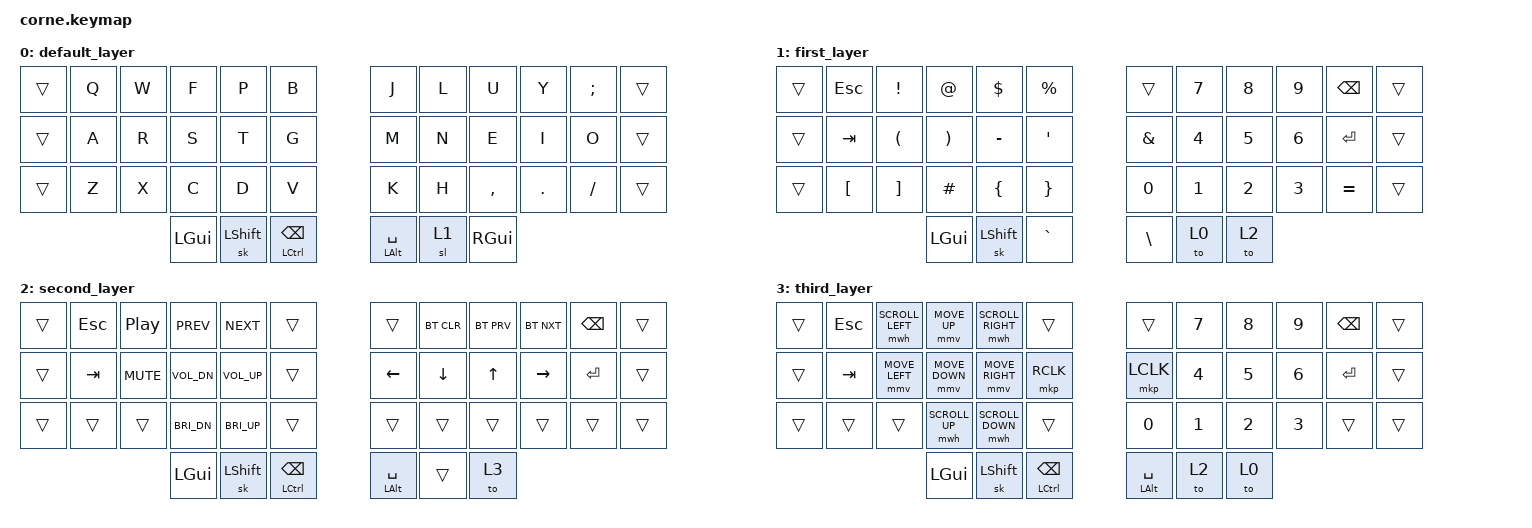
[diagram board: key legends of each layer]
/*
 * Copyright (c) 2020 The ZMK Contributors
 *
 * SPDX-License-Identifier: MIT
 */

#include <behaviors.dtsi>
#include <dt-bindings/zmk/keys.h>
#include <dt-bindings/zmk/bt.h>
#include <dt-bindings/zmk/mouse.h>

#define DEFAULT 0
#define FIRST   1
#define SECOND  2
#define THIRD   3

&mt {
    flavor = "tap-preferred";
    tapping_term_ms = <200>;
};

&mmv {
   time-to-max-speed-ms = <500>;
   acceleration-exponent=<2>;
};

/ {
        keymap {
                compatible = "zmk,keymap";

                default_layer {
                        bindings = <
   &trans &kp Q &kp W &kp F &kp P &kp B        &kp J &kp L  &kp U     &kp Y   &kp SEMI &trans
   &trans &kp A &kp R &kp S &kp T &kp G        &kp M &kp N  &kp E     &kp I   &kp O    &trans
   &trans &kp Z &kp X &kp C &kp D &kp V        &kp K &kp H  &kp COMMA &kp DOT &kp FSLH &trans
   &kp LGUI &sk LSHIFT &mt LCTRL BSPC   &mt LALT SPACE &sl 1 &kp RGUI
                        >;
                };

                first_layer {
                        bindings = <
   &trans &kp ESC  &kp EXCL &kp AT &kp DLLR &kp PRCNT    &trans &kp N7 &kp N8 &kp N9 &kp BSPC &trans
   &trans &kp TAB  &kp LPAR &kp RPAR &kp MINUS &kp SQT   &kp AMPS &kp N4 &kp N5 &kp N6 &kp RET &trans
   &trans &kp LBKT &kp RBKT &kp HASH &kp LBRC &kp RBRC   &kp N0 &kp N1 &kp N2 &kp N3 &kp EQUAL &trans
   &kp LGUI &sk LSHIFT &kp GRAVE                  &kp BSLH &to 0 &to 2
                        >;
                };

                second_layer {
                        bindings = <
   &trans &kp ESC &kp C_PP &kp C_PREV &kp C_NEXT &trans          &trans &bt BT_CLR &bt BT_PRV &bt BT_NXT &kp BSPC &trans
   &trans &kp TAB &kp K_MUTE &kp C_VOL_DN &kp C_VOL_UP &trans    &kp LEFT &kp DOWN &kp UP &kp RIGHT &kp RET &trans
   &trans &trans &trans &kp C_BRI_DN &kp C_BRI_UP &trans         &trans &trans &trans &trans &trans &trans
   &kp LGUI &sk LSHIFT &mt LCTRL BSPC                     &mt LALT SPACE &trans &to 3
                        >;
                };

                third_layer {
                        bindings = <
   &trans &kp ESC &mwh SCROLL_LEFT &mmv MOVE_UP &mwh SCROLL_RIGHT &trans      &trans &kp N7 &kp N8 &kp N9 &kp BSPC &trans
   &trans &kp TAB &mmv MOVE_LEFT &mmv MOVE_DOWN &mmv MOVE_RIGHT &mkp RCLK     &mkp LCLK &kp N4 &kp N5 &kp N6 &kp RET &trans
   &trans &trans &trans &mwh SCROLL_UP &mwh SCROLL_DOWN &trans             &kp N0 &kp N1 &kp N2 &kp N3 &trans &trans
   &kp LGUI &sk LSHIFT &mt LCTRL BSPC                                  &mt LALT SPACE &to 2 &to 0
                        >;
                };
        };
};
